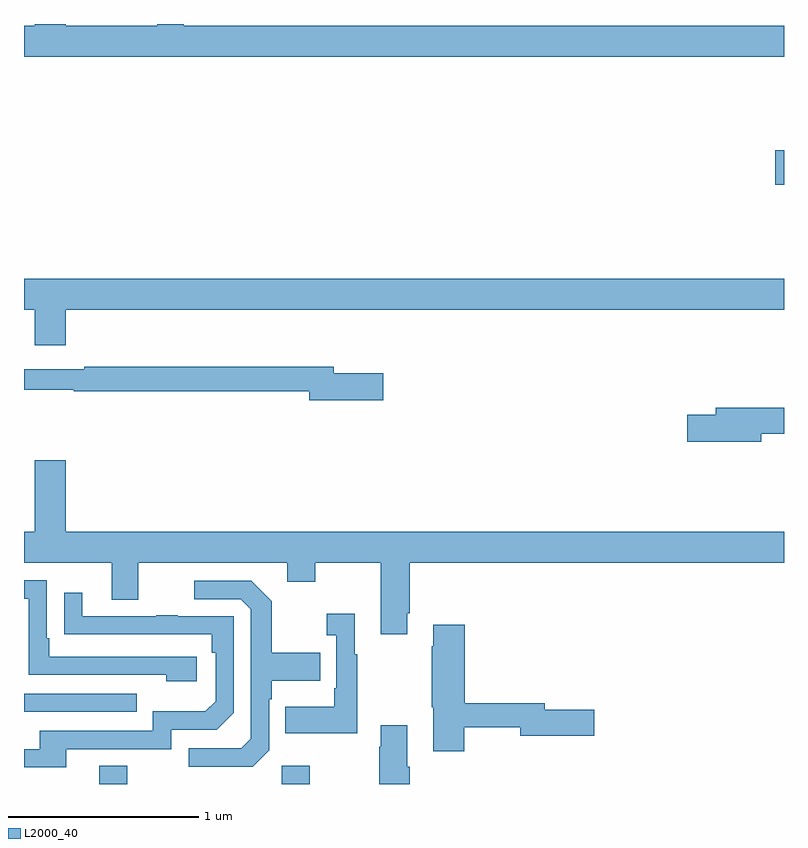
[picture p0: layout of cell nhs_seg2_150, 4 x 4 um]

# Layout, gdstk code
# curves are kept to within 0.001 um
import gdstk
lib = gdstk.Library(unit=1e-6, precision=1e-09)
def R(c, l, rs):  # rectangles x0, y0, x1, y1
    for r in rs: c.add(gdstk.rectangle(r[:2], r[2:], *l))
def P(c, l, *ps):  # polygons
    for p in ps: c.add(gdstk.Polygon(p, *l))
L2000_40 = (2000, 40)

nhs_seg2_150 = lib.new_cell('nhs_seg2_150')
R(nhs_seg2_150, L2000_40, [(117.395,651.8,117.543,651.895), (118.356,651.8,118.503,651.895), (117,652.179,117.593,652.275), (120.954,654.953,121,655.136)])
P(nhs_seg2_150, L2000_40, [(121,655.792),(117.841,655.792),(117.841,655.8),(117.701,655.8),(117.701,655.792),(117.22,655.792),(117.22,655.8),(117.056,655.8),(117.056,655.792),(117,655.792),(117,655.628),(121,655.628)],
  [(117.22,654.296),(121,654.296),(121,654.46),(117,654.46),(117,654.296),(117.056,654.296),(117.056,654.108),(117.22,654.108)],
  [(118.891,653.961),(118.63,653.961),(118.63,653.995),(117.316,653.995),(117.316,653.982),(117,653.982),(117,653.874),(117.262,653.874),(117.262,653.866),(118.502,653.866),(118.502,653.819),(118.891,653.819)],
  [(120.88,653.644),(121,653.644),(121,653.78),(120.641,653.78),(120.641,653.744),(120.492,653.744),(120.492,653.602),(120.88,653.602)],
  [(119.017,652.699),(119.03,652.699),(119.03,652.964),(121,652.964),(121,653.128),(117.22,653.128),(117.22,653.503),(117.056,653.503),(117.056,653.128),(117,653.128),(117,652.964),(117.461,652.964),(117.461,652.77),(117.601,652.77),(117.601,652.964),(118.385,652.964),(118.385,652.865),(118.533,652.865),(118.533,652.964),(118.877,652.964),(118.877,652.587),(119.017,652.587)],
  [(117.91,652.47),(117.133,652.47),(117.133,652.567),(117.12,652.567),(117.12,652.872),(117,652.872),(117,652.776),(117.024,652.776),(117.024,652.374),(117.749,652.374),(117.749,652.34),(117.91,652.34)],
  [(118.29,651.978),(118.29,652.247),(118.303,652.247),(118.303,652.343),(118.559,652.343),(118.559,652.491),(118.303,652.491),(118.303,652.763),(118.197,652.869),(117.897,652.869),(117.897,652.773),(118.14,652.773),(118.194,652.719),(118.194,652.038),(118.143,651.987),(117.867,651.987),(117.867,651.891),(118.203,651.891)],
  [(117.223,651.984),(117.774,651.984),(117.774,652.086),(118.014,652.086),(118.104,652.176),(118.104,652.683),(117.809,652.683),(117.809,652.688),(117.697,652.688),(117.697,652.683),(117.307,652.683),(117.307,652.807),(117.211,652.807),(117.211,652.588),(117.988,652.587),(117.988,652.49),(118.008,652.49),(118.008,652.236),(117.955,652.183),(117.678,652.183),(117.678,652.08),(117.083,652.08),(117.083,651.984),(117,651.984),(117,651.888),(117.223,651.888)],
  [(118.753,652.483),(118.741,652.483),(118.741,652.696),(118.593,652.696),(118.593,652.583),(118.644,652.583),(118.644,652.303),(118.632,652.303),(118.632,652.207),(118.375,652.207),(118.375,652.067),(118.753,652.067)],
  [(119.316,652.098),(119.612,652.098),(119.612,652.055),(120.001,652.055),(120.001,652.19),(119.74,652.19),(119.74,652.226),(119.321,652.226),(119.321,652.639),(119.153,652.639),(119.153,652.526),(119.146,652.526),(119.146,652.203),(119.153,652.203),(119.153,651.972),(119.316,651.972)],
  [(119.03,651.892),(119.017,651.892),(119.017,652.108),(118.877,652.108),(118.877,651.995),(118.87,651.995),(118.87,651.8),(119.03,651.8)])

lib.write_gds('nhs_seg2_150.gds')
